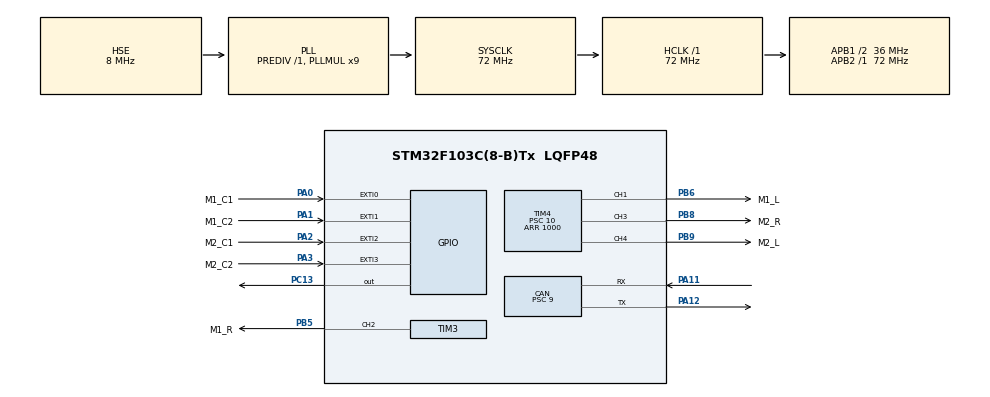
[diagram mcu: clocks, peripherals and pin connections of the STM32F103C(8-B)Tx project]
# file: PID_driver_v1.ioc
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CAN.BS1=CAN_BS1_2TQ
CAN.CalculateBaudRate=1000000
CAN.CalculateTimeBit=1000
CAN.CalculateTimeQuantum=250.0
CAN.Prescaler=9
Mcu.Family=STM32F1
Mcu.Name=STM32F103C(8-B)Tx
Mcu.Package=LQFP48
NVIC.CAN1_RX1_IRQn=true\:0\:0\:false\:false\:true\:true\:true\:true
NVIC.EXTI0_IRQn=true\:0\:0\:false\:false\:true\:true\:true\:true
NVIC.EXTI1_IRQn=true\:0\:0\:false\:false\:true\:true\:true\:true
NVIC.EXTI2_IRQn=true\:0\:0\:false\:false\:true\:true\:true\:true
NVIC.EXTI3_IRQn=true\:0\:0\:false\:false\:true\:true\:true\:true
NVIC.PriorityGroup=NVIC_PRIORITYGROUP_4
NVIC.TIM2_IRQn=true\:0\:0\:false\:false\:true\:true\:true\:true
PA0-WKUP.GPIO_Label=M1_C1
PA0-WKUP.GPIO_ModeDefaultEXTI=GPIO_MODE_IT_RISING_FALLING
PA0-WKUP.Signal=GPXTI0
PA1.GPIO_Label=M1_C2
PA1.GPIO_ModeDefaultEXTI=GPIO_MODE_IT_RISING_FALLING
PA1.Signal=GPXTI1
PA11.Mode=CAN_Activate
PA11.Signal=CAN_RX
PA12.Mode=CAN_Activate
PA12.Signal=CAN_TX
PA13.Mode=Serial_Wire
PA13.Signal=SYS_JTMS-SWDIO
PA14.Mode=Serial_Wire
PA14.Signal=SYS_JTCK-SWCLK
PA2.GPIO_Label=M2_C1
PA2.GPIO_ModeDefaultEXTI=GPIO_MODE_IT_RISING_FALLING
PA2.Signal=GPXTI2
PA3.GPIO_Label=M2_C2
PA3.GPIO_ModeDefaultEXTI=GPIO_MODE_IT_RISING_FALLING
PA3.Signal=GPXTI3
PB5.GPIO_Label=M1_R
PB5.Signal=S_TIM3_CH2
PB6.GPIO_Label=M1_L
PB6.Signal=S_TIM4_CH1
PB8.GPIO_Label=M2_R
PB8.Signal=S_TIM4_CH3
PB9.GPIO_Label=M2_L
PB9.Signal=S_TIM4_CH4
PC13-TAMPER-RTC.Signal=GPIO_Output
PD0-OSC_IN.Mode=HSE-External-Oscillator
PD0-OSC_IN.Signal=RCC_OSC_IN
PD1-OSC_OUT.Mode=HSE-External-Oscillator
PD1-OSC_OUT.Signal=RCC_OSC_OUT
ProjectManager.HeapSize=0x200
ProjectManager.StackSize=0x400
ProjectManager.TargetToolchain=STM32CubeIDE
RCC.AHBFreq_Value=72000000
RCC.APB1CLKDivider=RCC_HCLK_DIV2
RCC.APB1Freq_Value=36000000
RCC.APB1TimFreq_Value=72000000
RCC.APB2Freq_Value=72000000
RCC.APB2TimFreq_Value=72000000
RCC.HCLKFreq_Value=72000000
RCC.PLLMUL=RCC_PLL_MUL9
RCC.PLLSourceVirtual=RCC_PLLSOURCE_HSE
RCC.SYSCLKFreq_VALUE=72000000
RCC.SYSCLKSource=RCC_SYSCLKSOURCE_PLLCLK
RCC.USBFreq_Value=72000000
SH.S_TIM3_CH2.0=TIM3_CH2,PWM Generation2 CH2
SH.S_TIM4_CH1.0=TIM4_CH1,PWM Generation1 CH1
SH.S_TIM4_CH3.0=TIM4_CH3,PWM Generation3 CH3
SH.S_TIM4_CH4.0=TIM4_CH4,PWM Generation4 CH4
TIM2.AutoReloadPreload=TIM_AUTORELOAD_PRELOAD_ENABLE
TIM2.Period=999
TIM2.Prescaler=719
TIM3.AutoReloadPreload=TIM_AUTORELOAD_PRELOAD_ENABLE
TIM3.Channel-PWM\ Generation2\ CH2=TIM_CHANNEL_2
TIM3.Period=1000
TIM3.Prescaler=10
TIM4.AutoReloadPreload=TIM_AUTORELOAD_PRELOAD_ENABLE
TIM4.Channel-PWM\ Generation1\ CH1=TIM_CHANNEL_1
TIM4.Channel-PWM\ Generation3\ CH3=TIM_CHANNEL_3
TIM4.Channel-PWM\ Generation4\ CH4=TIM_CHANNEL_4
TIM4.Period=1000
TIM4.Prescaler=10
VP_TIM2_VS_ClockSourceINT.Mode=Internal
VP_TIM3_VS_ClockSourceINT.Mode=Internal
VP_TIM4_VS_ClockSourceINT.Mode=Internal
board=custom

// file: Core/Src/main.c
/* USER CODE BEGIN Header */
/**
 ******************************************************************************
 * @file           : main.c
 * @brief          : Main program body
 ******************************************************************************
 * @attention
 *
 * Copyright (c) 2022 STMicroelectronics.
 * All rights reserved.
 *
 * This software is licensed under terms that can be found in the LICENSE file
 * in the root directory of this software component.
 * If no LICENSE file comes with this software, it is provided AS-IS.
 *
 ******************************************************************************
 */
/* USER CODE END Header */
#include "main.h"
#include "can.h"
#include "tim.h"
#include "gpio.h"

/* USER CODE BEGIN Includes */
#include "PID.h"
/* USER CODE END Includes */

/* USER CODE BEGIN PD */
#define Right 1
#define Left 2
uint8_t Driver = Right;

PIDController MPID;
#define MKp 7.92
#define MKi 136.48
#define MKd 0.0

// need to configuration
#define CPR 912
#define Sample_time 10 // ms
/* USER CODE END PD */

/* USER CODE BEGIN PM */
#define pi 3.1415
#define Motor1 0
#define Motor2 1
volatile uint8_t nowA[2];
volatile uint8_t nowB[2];
volatile uint8_t lastA[2];
volatile uint8_t lastB[2];
volatile uint8_t dir[2];
uint16_t cnt[2];
uint16_t Enc_count[2];

uint16_t count[2]; // count pulse from encoder
uint16_t new_count[2];
uint8_t count_state[2];
uint16_t diff[2]; // difference between count and new_count in a sample time

float speedM[2];
float rdps[2];

float Motor1_speed = 0;
float Motor2_speed = 0;
float V1 = 0; // target speed of motor1
float V2 = 0; // target speed of motor2
float pwm_M1 = 0;
float pwm_M2 = 0;

float RxData1 = 32768;
float RxData2 = 32768;
float RxData3 = 32768;
float RxData4 = 32768;

uint16_t V1_out = 32768;
uint16_t V2_out = 32768;

uint8_t flag = 0;
uint8_t cntt;
/* USER CODE END PM */

/* USER CODE BEGIN PV */
uint16_t test_encoder;

CAN_RxHeaderTypeDef RxHeader;
uint8_t RxData[8];
CAN_TxHeaderTypeDef TxHeader;
uint8_t TxData[4];
uint32_t TxMailbox;

float map(float Input, float Min_Input, float Max_Input, float Min_Output, float Max_Output)
{

	return (float)((Input - Min_Input) * (Max_Output - Min_Output) / (Max_Input - Min_Input) + Min_Output);
}

void HAL_CAN_RxFifo1MsgPendingCallback(CAN_HandleTypeDef *hcan)
{
	HAL_CAN_GetRxMessage(hcan, CAN_RX_FIFO1, &RxHeader, RxData);
	cntt++;
	while (cntt - 100 > 0)
	{
		HAL_GPIO_TogglePin(GPIOC, GPIO_PIN_13);
		cntt = 0;
	}
	if(Driver == Left && RxHeader.DLC == 4){
		flag = 1;
	}

	if (RxHeader.DLC == 8)
	{
		RxData1 = (RxData[0] << 8) | RxData[1];
		RxData2 = (RxData[2] << 8) | RxData[3];
		RxData3 = (RxData[4] << 8) | RxData[5];
		RxData4 = (RxData[6] << 8) | RxData[7];
		//
		if (Driver == Right)
		{
			V1 = map(RxData1, 0, 65536, -100, 100);
			V2 = map(RxData2, 0, 65536, -100, 100);
			flag = 1;
		}
		else if (Driver == Left)
		{
			V1 = map(RxData3, 0, 65536, -100, 100);
			V2 = map(RxData4, 0, 65536, -100, 100);
		}
		if(V1 > -0.005 && V1 < 0.005) V1 = 0;
		if(V2 > -0.005 && V2 < 0.005) V2 = 0;

	}
}
/* USER CODE END PV */

void SystemClock_Config(void);

/* USER CODE BEGIN 0 */

uint16_t encoder(int i)
{
	if (nowA[i] != lastA[i])
	{
		lastA[i] = nowA[i];
		if (lastA[i] == 0)
		{
			if (nowB[i] == 0)
			{
				dir[i] = 0;
				cnt[i]--;
			}
			else
			{
				dir[i] = 1;
				cnt[i]++;
			}
		}
		else
		{
			if (nowB[i] == 1)
			{
				dir[i] = 0;
				cnt[i]--;
			}
			else
			{
				dir[i] = 1;
				cnt[i]++;
			}
		}
	}
	if (nowB[i] != lastB[i])
	{
		lastB[i] = nowB[i];
		if (lastB[i] == 0)
		{
			if (nowA[i] == 1)
			{
				dir[i] = 0;
				cnt[i]--;
			}
			else
			{
				dir[i] = 1;
				cnt[i]++;
			}
		}
		else
		{
			if (nowA[i] == 0)
			{
				dir[i] = 0;
				cnt[i]--;
			}
			else
			{
				dir[i] = 1;
				cnt[i]++;
			}
		}
	}
	return cnt[i];
}
float Motors_RPS(int j, float SampleTime, float N_round)
{
	new_count[Motor1] = Enc_count[0];
	new_count[Motor2] = Enc_count[1];

	count_state[Motor1] = !dir[0];
	count_state[Motor2] = !dir[1];

	if (count_state[j])
	{
		if (new_count[j] <= count[j])
		{ // Check for counter underflow
			diff[j] = count[j] - new_count[j];
		}
		else
		{
			diff[j] = (65536 - new_count[j]) + count[j];
		}
		speedM[j] = (float)diff[j] * 1000.0f / (N_round * SampleTime) * -1.0;
	}
	else
	{
		if (new_count[j] >= count[j])
		{ // Check for counter overflow
			diff[j] = new_count[j] - count[j];
		}
		else
		{
			diff[j] = (65536 - count[j]) + new_count[j];
		}
		speedM[j] = (float)diff[j] * 1000.0f / (N_round * SampleTime);
	}

	rdps[j] = -2.0f * pi * speedM[j];
	count[j] = new_count[j];

	return rdps[j];
}
/* USER CODE END 0 */

int main(void)
{
  /* USER CODE BEGIN 1 */
	// PID init--------------------------------
	PID_Init(&MPID, 2);
	MPID.T = 0.01; // T = 20ms
	MPID.limMax = 1000;
	MPID.limMin = -1000;
	MPID.limMaxInt = 1000;
	MPID.limMinInt = -1000;
	MPID.tau = 0; // for Kd
  /* USER CODE END 1 */

  /* MCU Configuration--------------------------------------------------------*/

  /* Reset of all peripherals, Initializes the Flash interface and the Systick. */
  HAL_Init();

  /* Configure the system clock */
  SystemClock_Config();

  /* Initialize all configured peripherals */
  MX_GPIO_Init();
  MX_TIM2_Init();
  MX_TIM3_Init();
  MX_TIM4_Init();
  MX_CAN_Init();
  /* USER CODE BEGIN 2 */
	// PWM
	HAL_TIM_PWM_Start(&htim3, TIM_CHANNEL_2); // M1_R
	HAL_TIM_PWM_Start(&htim4, TIM_CHANNEL_1); // M1_L
	HAL_TIM_PWM_Start(&htim4, TIM_CHANNEL_3); // M2_R
	HAL_TIM_PWM_Start(&htim4, TIM_CHANNEL_4); // M2_L
	// Timer interrupt
	HAL_TIM_Base_Start_IT(&htim2);
	//
	HAL_CAN_Start(&hcan);

	// Activate the notification
	HAL_CAN_ActivateNotification(&hcan, CAN_IT_RX_FIFO1_MSG_PENDING);

	TxHeader.DLC = 4; // data length
	TxHeader.IDE = CAN_ID_STD;
	TxHeader.RTR = CAN_RTR_DATA;
	if (Driver == Right)
	{
		TxHeader.StdId = 0x155; // ID
	}
	else if (Driver == Left)
	{
		TxHeader.StdId = 0x140; // ID
	}

	TxData[0] = 128; // ms delay
	TxData[1] = 0;
	TxData[2] = 128;
	TxData[3] = 0;
  /* USER CODE END 2 */

  /* Infinite loop */
	while (1)
	{

    /* USER CODE BEGIN 3 */

		V1_out = (uint16_t)map(Motor1_speed, -100, 100, 0, 65536);
		V2_out = (uint16_t)map(Motor2_speed, -100, 100, 0, 65536);

		TxData[0] = ((V1_out & 0xFF00) >> 8);
		TxData[1] = (V1_out & 0x00FF);
		TxData[2] = ((V2_out & 0xFF00) >> 8);
		TxData[3] = (V2_out & 0x00FF);
		if (flag == 1)
		{
			HAL_CAN_AddTxMessage(&hcan, &TxHeader, TxData, &TxMailbox);
			flag = 0;
		}
	}
  /* USER CODE END 3 */
}

void SystemClock_Config(void)
{
  RCC_OscInitTypeDef RCC_OscInitStruct = {0};
  RCC_ClkInitTypeDef RCC_ClkInitStruct = {0};

  /** Initializes the RCC Oscillators according to the specified parameters
  * in the RCC_OscInitTypeDef structure.
  */
  RCC_OscInitStruct.OscillatorType = RCC_OSCILLATORTYPE_HSE;
  RCC_OscInitStruct.HSEState = RCC_HSE_ON;
  RCC_OscInitStruct.HSEPredivValue = RCC_HSE_PREDIV_DIV1;
  RCC_OscInitStruct.HSIState = RCC_HSI_ON;
  RCC_OscInitStruct.PLL.PLLState = RCC_PLL_ON;
  RCC_OscInitStruct.PLL.PLLSource = RCC_PLLSOURCE_HSE;
  RCC_OscInitStruct.PLL.PLLMUL = RCC_PLL_MUL9;
  if (HAL_RCC_OscConfig(&RCC_OscInitStruct) != HAL_OK)
  {
    Error_Handler();
  }

  /** Initializes the CPU, AHB and APB buses clocks
  */
  RCC_ClkInitStruct.ClockType = RCC_CLOCKTYPE_HCLK|RCC_CLOCKTYPE_SYSCLK
                              |RCC_CLOCKTYPE_PCLK1|RCC_CLOCKTYPE_PCLK2;
  RCC_ClkInitStruct.SYSCLKSource = RCC_SYSCLKSOURCE_PLLCLK;
  RCC_ClkInitStruct.AHBCLKDivider = RCC_SYSCLK_DIV1;
  RCC_ClkInitStruct.APB1CLKDivider = RCC_HCLK_DIV2;
  RCC_ClkInitStruct.APB2CLKDivider = RCC_HCLK_DIV1;

  if (HAL_RCC_ClockConfig(&RCC_ClkInitStruct, FLASH_LATENCY_2) != HAL_OK)
  {
    Error_Handler();
  }
}

/* USER CODE BEGIN 4 */
void HAL_GPIO_EXTI_Callback(uint16_t GPIO_Pin)
{
	if (GPIO_Pin == M1_C1_Pin || M1_C2_Pin)
	{ // ENCODER Motor 1
		nowA[0] = HAL_GPIO_ReadPin(M1_C1_GPIO_Port, M1_C1_Pin);
		nowB[0] = HAL_GPIO_ReadPin(M1_C2_GPIO_Port, M1_C2_Pin);
		Enc_count[0] = encoder(0);
	}
	if (GPIO_Pin == M2_C1_Pin || M2_C2_Pin)
	{ // ENCODER Motor 1
		nowA[1] = HAL_GPIO_ReadPin(M2_C1_GPIO_Port, M2_C1_Pin);
		nowB[1] = HAL_GPIO_ReadPin(M2_C2_GPIO_Port, M2_C2_Pin);
		Enc_count[1] = encoder(1);
	}
}

void HAL_TIM_PeriodElapsedCallback(TIM_HandleTypeDef *htim)
{
	if (htim->Instance == TIM2)
	{
		// PID // need to change for using
		pwm_M1 = PID(&MPID, V1, Motor1_speed, MKp, MKi, MKd, Motor1);
		pwm_M2 = PID(&MPID, V2, Motor2_speed, MKp, MKi, MKd, Motor2);
		// feedback speed
		Motor1_speed = Motors_RPS(Motor1, Sample_time, CPR);
		Motor2_speed = Motors_RPS(Motor2, Sample_time, CPR);

		if (pwm_M1 > 20)
		{
			TIM3->CCR2 = pwm_M1;
			TIM4->CCR1 = 0;
		}
		else if (pwm_M1 < -20)
		{
			TIM3->CCR2 = 0;
			TIM4->CCR1 = pwm_M1 * -1;
		}
		else
		{
			TIM3->CCR2 = 0;
			TIM4->CCR1 = 0;
		}
		if (pwm_M2 > 20)
		{
			TIM4->CCR3 = pwm_M2;
			TIM4->CCR4 = 0;
		}
		else if (pwm_M2 < -20)
		{
			TIM4->CCR3 = 0;
			TIM4->CCR4 = pwm_M2 * -1;
		}
		else
		{
			TIM4->CCR3 = 0;
			TIM4->CCR4 = 0;
		}
	}
}
/* USER CODE END 4 */

void Error_Handler(void)
{
	__disable_irq();
	while (1)
	{
	}
}
